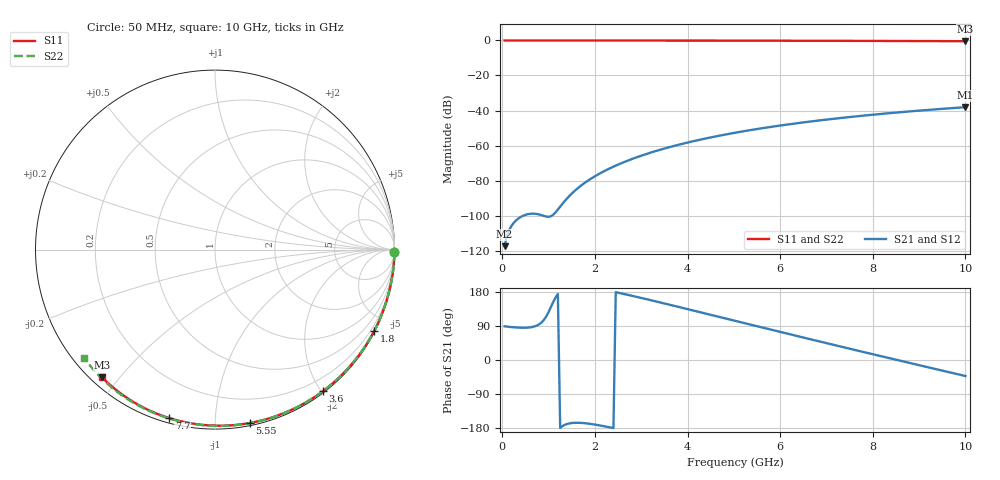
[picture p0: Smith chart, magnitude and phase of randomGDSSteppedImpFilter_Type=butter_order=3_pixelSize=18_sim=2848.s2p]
! freq	dB(S11)	phase(S11)	dB(S12)	phase(S12)
!  dB(S21)	phase(S21)	dB(S22)	phase(S22)
!S-par simulation data
#  GHz  S  DB  R 50
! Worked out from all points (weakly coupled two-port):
!   200 points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, 50 MHz to 10 GHz, reference 50 ohm
!   highest |S21| = -38.10 dB at 10 GHz (marker M1); lowest = -117.4 dB at 50 MHz (marker M2)
!   lowest |S11| = -0.4 dB at 10 GHz (marker M3), VSWR 38.98, Z = 1.54 - j22.5 ohm
!   |S11| at or under -10 dB: nowhere
!   |S22| runs from -0.5 to 0.0 dB; largest |S21 - S12| = 0
!   S11 on the Smith chart (normalised r, x): 50 MHz: open; 1.8 GHz: 0.04, -4.17; 3.6 GHz: 0.02, -2.02; 5.55 GHz: 0.02, -1.22; 7.7 GHz: 0.02, -0.77; 10 GHz: 0.03, -0.45
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0.05  -0.00 -0.8  -117.44 88.9  -117.44 88.9  -0.00 -0.8
0.45  -0.01 -6.8  -100.05 85.1  -100.05 85.1  -0.01 -7.3
0.9  -0.02 -13.6  -100.17 106.1  -100.17 106.1  -0.02 -14.5
1.75  -0.03 -26.2  -81.87 -166.4  -81.87 -166.4  -0.04 -27.9
1.8  -0.03 -27.0  -80.92 -167.0  -80.92 -167.0  -0.04 -28.7
1.85  -0.04 -27.7  -80.02 -167.8  -80.02 -167.8  -0.04 -29.5
2.15  -0.04 -32.1  -75.30 -173.6  -75.30 -173.6  -0.04 -34.2
2.35  -0.04 -35.0  -72.65 -178.4  -72.65 -178.4  -0.05 -37.3
2.55  -0.05 -37.9  -70.30 176.3  -70.30 176.3  -0.05 -40.3
2.95  -0.06 -43.6  -66.25 165.2  -66.25 165.2  -0.06 -46.4
3.4  -0.07 -49.9  -62.46 152.2  -62.46 152.2  -0.07 -53.1
3.6  -0.07 -52.7  -60.97 146.2  -60.97 146.2  -0.08 -56.1
3.9  -0.08 -56.8  -58.92 137.3  -58.92 137.3  -0.08 -60.5
4.3  -0.09 -62.3  -56.47 125.3  -56.47 125.3  -0.09 -66.2
5.05  -0.11 -72.2  -52.57 102.7  -52.57 102.7  -0.12 -76.8
5.55  -0.13 -78.7  -50.36 87.7  -50.36 87.7  -0.14 -83.7
6.1  -0.15 -85.7  -48.20 71.2  -48.20 71.2  -0.16 -91.1
6.7  -0.18 -93.1  -46.12 53.4  -46.12 53.4  -0.19 -98.9
7.7  -0.24 -105.1  -43.17 24.0  -43.17 24.0  -0.26 -111.7
8.35  -0.29 -112.7  -41.53 5.1  -41.53 5.1  -0.31 -119.8
9.2  -0.36 -122.5  -39.64 -19.4  -39.64 -19.4  -0.39 -130.3
10  -0.45 -131.5  -38.10 -42.3  -38.10 -42.3  -0.47 -140.2
